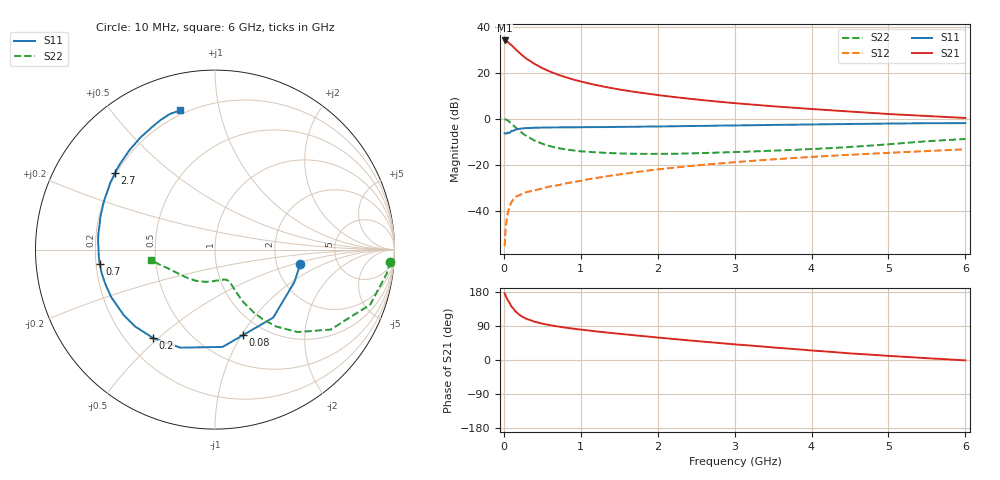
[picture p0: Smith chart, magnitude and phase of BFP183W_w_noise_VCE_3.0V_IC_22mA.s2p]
! Infineon Technologies  Discrete & RF Semiconductors
! BFP183W
! VCE =  3.0 V,  IC =  22 mA
! Common Emitter S-Parameters:  Jan 2017
# GHz  S  MA  R  50
!  f  S11  S21  S12  S22
! GHz  MAG  ANG  MAG  ANG  MAG  ANG  MAG  ANG
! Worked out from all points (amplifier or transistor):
!   77 points, 10 MHz to 6 GHz, reference 50 ohm
!   highest |S21| = 34.0 dB at 10 MHz (marker M1)
!   |S21| within 3 dB of that: start of sweep to 128.3 MHz
!   unconditionally stable (mu >= 1): 1.079 GHz to 3.619 GHz
!   at 130 MHz: K = 0.26, MSG = 32.9 dB, |S12| = -34.8 dB
!   at 2.2 GHz: K = 1.07, MAG = 13.8 dB, |S12| = -21.3 dB
!   at 6 GHz: K = 0.88, MSG = 6.8 dB, |S12| = -13.3 dB
!   lowest NFmin = 1.22 dB at 450 MHz
!   S11 on the Smith chart (normalised r, x): 10 MHz: 2.73, -0.58; 80 MHz: 0.80, -1.01; 200 MHz: 0.31, -0.48; 700 MHz: 0.21, -0.06; 2.7 GHz: 0.19, +0.33; 6 GHz: 0.18, +0.77
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0.01  0.4826 -9.7  49.98 176.2  0.0017 84.9  0.9781 -3.9
0.02  0.4776 -22.3  49.61 171.0  0.0033 90.8  0.966 -8.0
0.05  0.4988 -49.4  46.46 158.4  0.0088 71.9  0.9175 -19.5
0.08  0.5015 -71.9  41.76 148.6  0.0128 63.6  0.8296 -28.0
0.1  0.5439 -85.5  39.43 140.9  0.0155 60.5  0.7831 -34.7
0.15  0.5796 -109.5  32.64 128.6  0.02 51.6  0.6508 -44.9
0.2  0.6014 -125.0  27.11 119.6  0.0217 48.8  0.5488 -51.4
0.25  0.6179 -136.2  22.97 112.9  0.0238 46.0  0.4704 -55.6
0.3  0.6259 -144.3  19.76 108.1  0.0255 44.9  0.4118 -58.3
0.4  0.6361 -155.4  15.41 100.9  0.0277 45.3  0.3331 -61.6
0.5  0.6409 -163.0  12.51 95.9  0.0306 47.1  0.285 -62.9
0.6  0.6449 -168.6  10.55 91.9  0.0338 48.5  0.2529 -63.9
0.7  0.6471 -173.1  9.083 88.6  0.0357 50.6  0.2299 -64.3
0.9  0.6487 179.7  7.101 82.7  0.042 53.7  0.2046 -65.5
1.1  0.6545 174.1  5.85 78.0  0.0485 56.7  0.1905 -66.8
1.5  0.6627 164.7  4.31 69.3  0.0613 58.2  0.176 -71.7
2.1  0.6795 152.9  3.113 57.5  0.0823 58.2  0.1724 -84.3
2.7  0.7012 142.7  2.42 46.6  0.103 56.6  0.1814 -100.0
3.1  0.7153 136.5  2.107 39.8  0.1167 54.7  0.1904 -110.5
4.1  0.7522 122.5  1.581 23.7  0.1509 49.4  0.2229 -136.1
5.1  0.785 112.0  1.237 9.7  0.1843 43.1  0.2866 -159.2
6  0.8002 103.9  1.035 -1.0  0.2162 37.2  0.362 -170.9
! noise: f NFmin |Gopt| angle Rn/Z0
0.45  1.22  0.22  174  0.1
0.9  1.25  0.26  177  0.09
1.9  1.73  0.41  -161  0.09
2.4  1.96  0.46  -155  0.12
